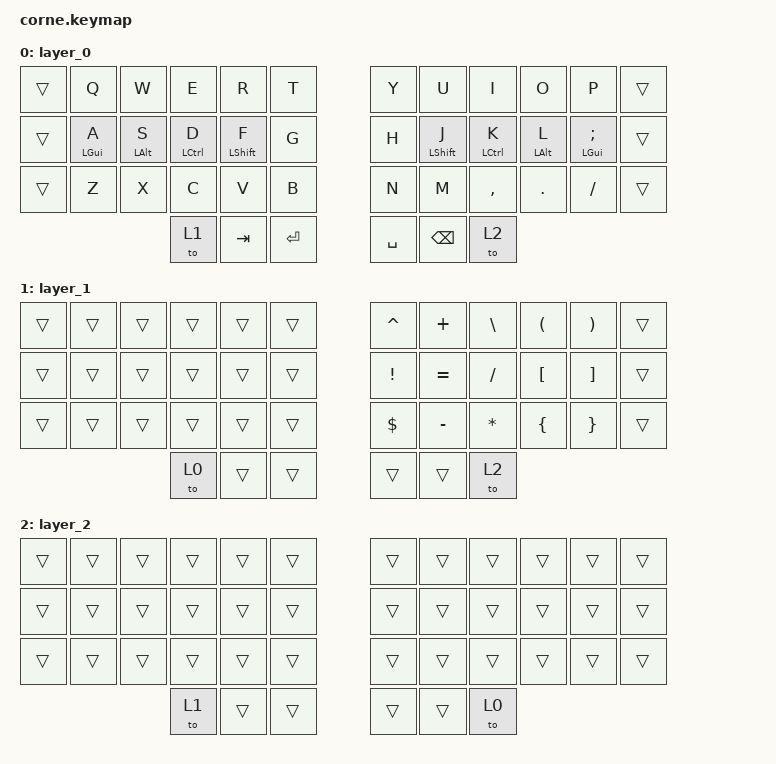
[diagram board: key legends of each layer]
/*
 * Copyright (c) 2020 The ZMK Contributors
 *
 * SPDX-License-Identifier: MIT
 */

#include <behaviors.dtsi>
#include <dt-bindings/zmk/keys.h>
#include <dt-bindings/zmk/bt.h>

/ {
    behaviors {
        hm: hm {
            compatible = "zmk,behavior-hold-tap";
            label = "Homerow Mods";
            bindings = <&kp>, <&kp>;

            #binding-cells = <2>;
            tapping-term-ms = <150>;
            flavor = "tap-preferred";
            quick-tap-ms = <0>;
        };
    };

    keymap {
        compatible = "zmk,keymap";

        layer_0 {
            bindings = <
&trans  &kp Q       &kp W       &kp E               &kp R             &kp T      &kp Y      &kp U             &kp I               &kp O           &kp P              &trans
&trans  &hm LGUI A  &hm LALT S  &hm LEFT_CONTROL D  &hm LEFT_SHIFT F  &kp G      &kp H      &hm LEFT_SHIFT J  &hm LEFT_CONTROL K  &hm LEFT_ALT L  &hm LEFT_GUI SEMI  &trans
&trans  &kp Z       &kp X       &kp C               &kp V             &kp B      &kp N      &kp M             &kp COMMA           &kp DOT         &kp FSLH           &trans
                                &to 1               &kp TAB           &kp RET    &kp SPACE  &kp BSPC          &to 2
            >;
        };

        layer_1 {
            bindings = <
&trans  &trans  &trans  &trans  &trans  &trans    &kp CARET   &kp PLUS   &kp BSLH      &kp LEFT_PARENTHESIS  &kp RIGHT_PARENTHESIS  &trans
&trans  &trans  &trans  &trans  &trans  &trans    &kp EXCL    &kp EQUAL  &kp SLASH     &kp LEFT_BRACKET      &kp RIGHT_BRACKET      &trans
&trans  &trans  &trans  &trans  &trans  &trans    &kp DOLLAR  &kp MINUS  &kp ASTERISK  &kp LEFT_BRACE        &kp RIGHT_BRACE        &trans
                        &to 0   &trans  &trans    &trans      &trans     &to 2
            >;
        };

        layer_2 {
            bindings = <
&trans  &trans  &trans  &trans  &trans  &trans    &trans  &trans  &trans  &trans  &trans  &trans
&trans  &trans  &trans  &trans  &trans  &trans    &trans  &trans  &trans  &trans  &trans  &trans
&trans  &trans  &trans  &trans  &trans  &trans    &trans  &trans  &trans  &trans  &trans  &trans
                        &to 1   &trans  &trans    &trans  &trans  &to 0
            >;
        };
    };
};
